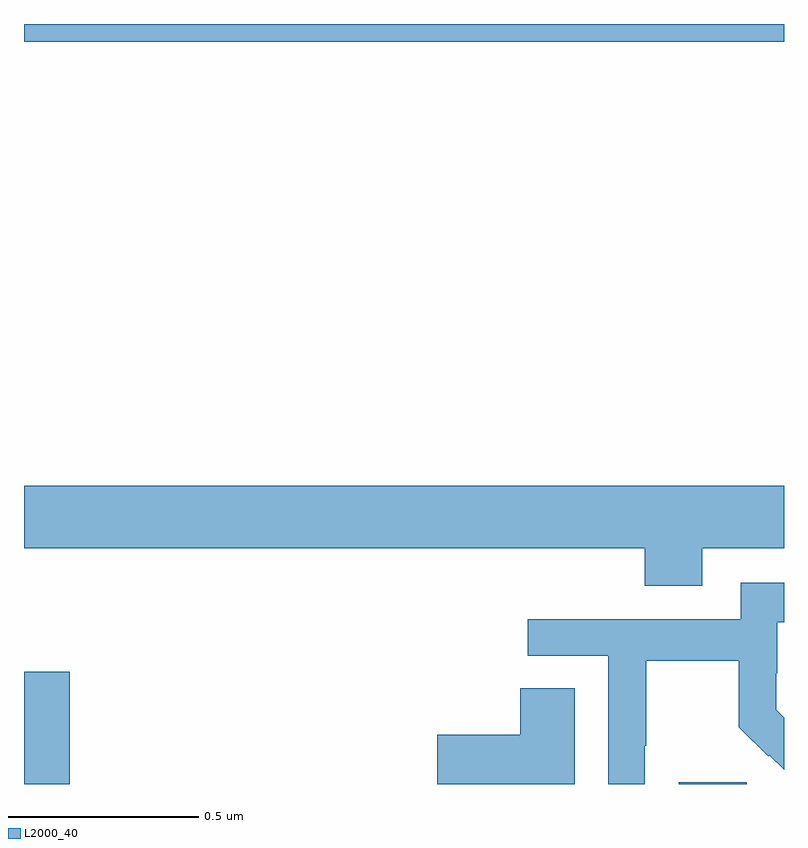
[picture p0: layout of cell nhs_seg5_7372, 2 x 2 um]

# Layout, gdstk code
import gdstk
lib = gdstk.Library(unit=1e-6, precision=1e-09)
def R(c, l, rs):  # rectangles x0, y0, x1, y1
    for r in rs: c.add(gdstk.rectangle(r[:2], r[2:], *l))
def P(c, l, *ps):  # polygons
    for p in ps: c.add(gdstk.Polygon(p, *l))
L2000_40 = (2000, 40)

nhs_seg5_7372 = lib.new_cell('nhs_seg5_7372')
R(nhs_seg5_7372, L2000_40, [(208,862.799,208.121,863.095), (209.723,862.799,209.902,862.803), (208,864.752,210,864.799)])
P(nhs_seg5_7372, L2000_40, [(209.785,863.42),(210,863.42),(210,863.584),(208,863.584),(208,863.42),(209.633,863.42),(209.633,863.321),(209.785,863.321)],
  [(209.634,862.9),(209.637,862.9),(209.637,863.124),(209.881,863.124),(209.881,862.949),(209.958,862.872),(209.961,862.875),(210,862.837),(210,862.974),(209.98,862.994),(209.98,863.091),(209.982,863.091),(209.982,863.225),(210,863.225),(210,863.329),(209.886,863.329),(209.886,863.232),(209.325,863.232),(209.325,863.136),(209.538,863.136),(209.538,862.799),(209.634,862.799)],
  [(209.449,863.051),(209.306,863.051),(209.306,862.928),(209.088,862.928),(209.088,862.799),(209.449,862.799)])

lib.write_gds('nhs_seg5_7372.gds')
